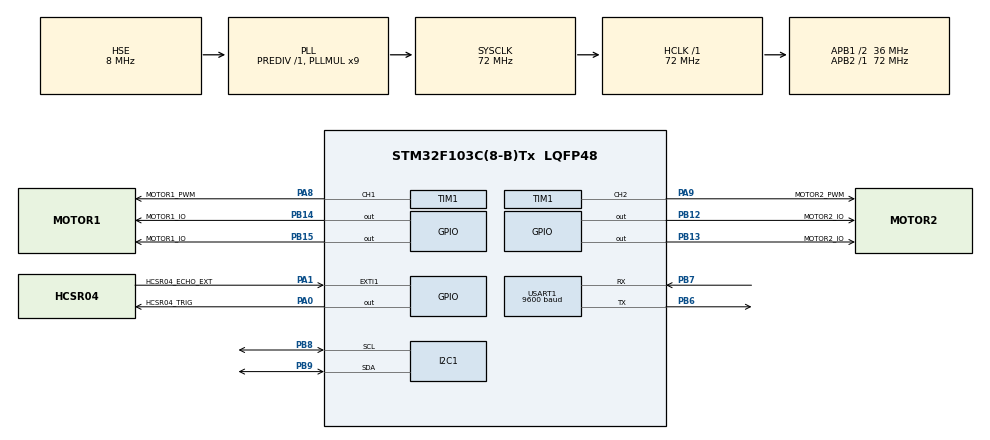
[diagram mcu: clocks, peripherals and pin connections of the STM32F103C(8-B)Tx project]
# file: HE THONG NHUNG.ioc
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Mcu.Family=STM32F1
Mcu.Name=STM32F103C(8-B)Tx
Mcu.Package=LQFP48
NVIC.EXTI1_IRQn=true\:1\:0\:true\:false\:true\:true\:true\:true
NVIC.PriorityGroup=NVIC_PRIORITYGROUP_4
NVIC.USART1_IRQn=true\:1\:0\:true\:false\:true\:true\:true\:true
PA0-WKUP.GPIO_Label=HCSR04_TRIG
PA0-WKUP.Signal=GPIO_Output
PA1.GPIO_Label=HCSR04_ECHO_EXT
PA1.GPIO_PuPd=GPIO_PULLUP
PA1.Signal=GPXTI1
PA13.Mode=Serial_Wire
PA13.Signal=SYS_JTMS-SWDIO
PA14.Mode=Serial_Wire
PA14.Signal=SYS_JTCK-SWCLK
PA8.GPIO_Label=MOTOR1_PWM
PA8.Signal=S_TIM1_CH1
PA9.GPIO_Label=MOTOR2_PWM
PA9.Signal=S_TIM1_CH2
PB12.GPIO_Label=MOTOR2_IO
PB12.Signal=GPIO_Output
PB13.GPIO_Label=MOTOR2_IO
PB13.Signal=GPIO_Output
PB14.GPIO_Label=MOTOR1_IO
PB14.Signal=GPIO_Output
PB15.GPIO_Label=MOTOR1_IO
PB15.Signal=GPIO_Output
PB6.Mode=Asynchronous
PB6.Signal=USART1_TX
PB7.Mode=Asynchronous
PB7.Signal=USART1_RX
PB8.Mode=I2C
PB8.Signal=I2C1_SCL
PB9.Mode=I2C
PB9.Signal=I2C1_SDA
PD0-OSC_IN.Mode=HSE-External-Oscillator
PD0-OSC_IN.Signal=RCC_OSC_IN
PD1-OSC_OUT.Mode=HSE-External-Oscillator
PD1-OSC_OUT.Signal=RCC_OSC_OUT
ProjectManager.HeapSize=0x200
ProjectManager.StackSize=0x400
ProjectManager.TargetToolchain=MDK-ARM V5.32
RCC.AHBFreq_Value=72000000
RCC.APB1CLKDivider=RCC_HCLK_DIV2
RCC.APB1Freq_Value=36000000
RCC.APB1TimFreq_Value=72000000
RCC.APB2Freq_Value=72000000
RCC.APB2TimFreq_Value=72000000
RCC.HCLKFreq_Value=72000000
RCC.PLLMUL=RCC_PLL_MUL9
RCC.PLLSourceVirtual=RCC_PLLSOURCE_HSE
RCC.SYSCLKFreq_VALUE=72000000
RCC.SYSCLKSource=RCC_SYSCLKSOURCE_PLLCLK
RCC.USBFreq_Value=72000000
SH.S_TIM1_CH1.0=TIM1_CH1,PWM Generation1 CH1
SH.S_TIM1_CH2.0=TIM1_CH2,PWM Generation2 CH2
TIM1.Channel-PWM\ Generation1\ CH1=TIM_CHANNEL_1
TIM1.Channel-PWM\ Generation2\ CH2=TIM_CHANNEL_2
TIM1.Period=999
TIM1.Prescaler=71
TIM3.Prescaler=71
USART1.BaudRate=9600
USART1.VirtualMode=VM_ASYNC
VP_TIM1_VS_ClockSourceINT.Mode=Internal
VP_TIM3_VS_ClockSourceINT.Mode=Internal
board=custom

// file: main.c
/* USER CODE BEGIN Header */
/**
  ******************************************************************************
  * @file           : main.c
  * @brief          : Main program body
  ******************************************************************************
  * @attention
  *
  * Copyright (c) 2025 STMicroelectronics.
  * All rights reserved.
  *
  * This software is licensed under terms that can be found in the LICENSE file
  * in the root directory of this software component.
  * If no LICENSE file comes with this software, it is provided AS-IS.
  *
  ******************************************************************************
  */
/* USER CODE END Header */
#include "main.h"

/* USER CODE BEGIN Includes */
#include "Car.h"
#include "stm32f1xx_hal.h"
#include "stdio.h"
#include "string.h"
#include "LiquidCrystal_I2C.h"
/* USER CODE END Includes */

I2C_HandleTypeDef hi2c1;

TIM_HandleTypeDef htim1;
TIM_HandleTypeDef htim3;

UART_HandleTypeDef huart1;

void SystemClock_Config(void);
static void MX_GPIO_Init(void);
static void MX_TIM1_Init(void);
static void MX_USART1_UART_Init(void);
static void MX_I2C1_Init(void);
static void MX_TIM3_Init(void);
/* USER CODE BEGIN PFP */
LiquidCrystal_I2C hlcd1;
/* USER CODE END PFP */

/* USER CODE BEGIN 0 */

//---------------- LCD SHOW --------------------
extern uint8_t car_state;
uint8_t car_speed = 100;
uint8_t old_car_state = 255;
uint8_t old_car_speed = 255;

void lcd_show_state_speed(void)
{
    if(car_state != old_car_state)
    {
			lcd_set_cursor(&hlcd1, 0, 0);

			switch (car_state)
			{
				case CAR_STOP_STATE:          lcd_printf(&hlcd1, "State: STOP    "); break;
				case CAR_FORWARD_STATE:       lcd_printf(&hlcd1, "State: FORWARD "); break;
				case CAR_BACKWARD_STATE:      lcd_printf(&hlcd1, "State: BACK    "); break;
				case CAR_FORWARD_LEFT_STATE:  lcd_printf(&hlcd1, "State: LEFT    "); break;
				case CAR_FORWARD_RIGHT_STATE: lcd_printf(&hlcd1, "State: RIGHT   "); break;
			}
			old_car_state = car_state;
	}
    if(car_speed != old_car_speed)
    {
			lcd_set_cursor(&hlcd1, 1, 0);
			lcd_printf(&hlcd1, "Speed: %3d %%   ", car_speed);
			old_car_speed = car_speed;
    }
}
//----------------- XU LY UART ---------------------
uint8_t data_rx;
uint8_t uart_rx_flag = 0;
void HAL_UART_RxCpltCallback(UART_HandleTypeDef *huart)
{
	if(huart->Instance == huart1.Instance)
	{
		uart_rx_flag = 1;
		HAL_UART_Receive_IT(&huart1, &data_rx, 1);
	}
}

void uart_handle()
{
	if(uart_rx_flag)
	{
		uart_rx_flag = 0;

		switch(data_rx)
		{
			case 'S':
			case '0':
				car_control(CAR_STOP_STATE, 0);
				lcd_show_state_speed();
				break;

			case 'F':
			case '1':
				car_control(CAR_FORWARD_STATE, car_speed);
				lcd_show_state_speed();
				break;

			case 'B':
			case '2':
				car_control(CAR_BACKWARD_STATE, car_speed);
				lcd_show_state_speed();
				break;

			case 'L':
			case '3':
				car_control(CAR_FORWARD_LEFT_STATE, car_speed);
				lcd_show_state_speed();
				break;

			case 'R':
			case '4':
				car_control(CAR_FORWARD_RIGHT_STATE, car_speed);
				lcd_show_state_speed();
				break;

			case '5': car_speed = 50;  lcd_show_state_speed(); break;
			case '6': car_speed = 60; lcd_show_state_speed(); break;
			case '7': car_speed = 70; lcd_show_state_speed(); break;
			case '8': car_speed = 80; lcd_show_state_speed(); break;
			case '9': car_speed = 90; lcd_show_state_speed(); break;
			case 'q': car_speed = 100; lcd_show_state_speed(); break;

			default: break;
		}
		lcd_show_state_speed();
	}
}

//------------------ HCSR04 -------------------
//typedef enum
//{
//	HCSR04_IDLE_STATE,
//	HCSR04_GEN_PULSE_STATE,
//	HCSR04_WAIT_EXT_RISSING_STATE,
//	HCSR04_WAIT_EXT_FALLING_STATE,
//	HCSR04_COMPLETE_STATE
//}HCSR04_State;

//HCSR04_State hcsr04_state = HCSR04_IDLE_STATE;
//uint32_t time_start_gen_pulse;
//void HAL_GPIO_EXTI_Callback(uint16_t GPIO_Pin)
//{
//	if(GPIO_Pin == HCSR04_ECHO_EXT_Pin)
//	{
//		switch(hcsr04_state)
//		{
//			case HCSR04_WAIT_EXT_RISSING_STATE:
//			{
//				if(HAL_GPIO_ReadPin(HCSR04_ECHO_EXT_GPIO_Port, HCSR04_ECHO_EXT_Pin) == 1)
//				{
//					//__HAL_TIM_SetCounter(&htim3, 0);
//					htim3.Instance->CNT = 0;
//					HAL_TIM_Base_Start(&htim3);
//					hcsr04_state = HCSR04_WAIT_EXT_FALLING_STATE;
//				}
//				else
//				{
//					hcsr04_state = HCSR04_IDLE_STATE;
//				}
//				break;
//			}
//			case HCSR04_WAIT_EXT_FALLING_STATE:
//			{
//				if(HAL_GPIO_ReadPin(HCSR04_ECHO_EXT_GPIO_Port, HCSR04_ECHO_EXT_Pin) == 0)
//				{
//					HAL_TIM_Base_Stop(&htim3);
//					hcsr04_state = HCSR04_COMPLETE_STATE;
//				}
//				else
//				{
//					hcsr04_state = HCSR04_IDLE_STATE;
//				}
//				break;
//			}
//			default:
//				break;
//		}
//	}
//}

//void HCSR04_Start()
//{
//	HAL_GPIO_WritePin(HCSR04_TRIG_GPIO_Port, HCSR04_TRIG_Pin, GPIO_PIN_SET);
//	hcsr04_state = HCSR04_GEN_PULSE_STATE;
//	time_start_gen_pulse = HAL_GetTick();
////	HAL_Delay(1);

//}

//float distance;
//void HCSR04_Complete_Callback(float kc)
//{
//	distance = kc;
//	//lam tac vu gi do
//}

//void HCSR04_Handle()
//{
//	switch(hcsr04_state)
//	{
//		case HCSR04_GEN_PULSE_STATE:
//		{
//			if(HAL_GetTick() - time_start_gen_pulse >= 1)
//			{
//				HAL_GPIO_WritePin(HCSR04_TRIG_GPIO_Port, HCSR04_TRIG_Pin, GPIO_PIN_RESET);
//				hcsr04_state = HCSR04_WAIT_EXT_RISSING_STATE;
//			}
//			break;
//		}
//		case HCSR04_COMPLETE_STATE:
//		{
//			float kc = 0.017*htim3.Instance->CNT;
//			HCSR04_Complete_Callback(kc);
//			break;
//		}
//		default:
//			break;
//	}
//}
/* USER CODE END 0 */

int main(void)
{

  /* MCU Configuration--------------------------------------------------------*/

  /* Reset of all peripherals, Initializes the Flash interface and the Systick. */
  HAL_Init();

  /* Configure the system clock */
  SystemClock_Config();

  /* Initialize all configured peripherals */
  MX_GPIO_Init();
  MX_TIM1_Init();
  MX_USART1_UART_Init();
  MX_I2C1_Init();
  MX_TIM3_Init();
  /* USER CODE BEGIN 2 */
	car_init(&htim1);
	__HAL_TIM_MOE_ENABLE(&htim1);
	HAL_UART_Receive_IT(&huart1, &data_rx, 1);

	lcd_init(&hlcd1, &hi2c1, LCD_ADDR_DEFAULT);
	lcd_show_state_speed();
  /* USER CODE END 2 */

  /* Infinite loop */
  while (1)
  {

    /* USER CODE BEGIN 3 */
		uart_handle();
//		static uint32_t t_read_hcsr;
//		if(HAL_GetTick() - t_read_hcsr >= 300)
//		{
//			HCSR04_Start();
//			t_read_hcsr = HAL_GetTick();
//		}
//		HCSR04_Handle();
  }
  /* USER CODE END 3 */
}

void SystemClock_Config(void)
{
  RCC_OscInitTypeDef RCC_OscInitStruct = {0};
  RCC_ClkInitTypeDef RCC_ClkInitStruct = {0};

  /** Initializes the RCC Oscillators according to the specified parameters
  * in the RCC_OscInitTypeDef structure.
  */
  RCC_OscInitStruct.OscillatorType = RCC_OSCILLATORTYPE_HSE;
  RCC_OscInitStruct.HSEState = RCC_HSE_ON;
  RCC_OscInitStruct.HSEPredivValue = RCC_HSE_PREDIV_DIV1;
  RCC_OscInitStruct.HSIState = RCC_HSI_ON;
  RCC_OscInitStruct.PLL.PLLState = RCC_PLL_ON;
  RCC_OscInitStruct.PLL.PLLSource = RCC_PLLSOURCE_HSE;
  RCC_OscInitStruct.PLL.PLLMUL = RCC_PLL_MUL9;
  if (HAL_RCC_OscConfig(&RCC_OscInitStruct) != HAL_OK)
  {
    Error_Handler();
  }

  /** Initializes the CPU, AHB and APB buses clocks
  */
  RCC_ClkInitStruct.ClockType = RCC_CLOCKTYPE_HCLK|RCC_CLOCKTYPE_SYSCLK
                              |RCC_CLOCKTYPE_PCLK1|RCC_CLOCKTYPE_PCLK2;
  RCC_ClkInitStruct.SYSCLKSource = RCC_SYSCLKSOURCE_PLLCLK;
  RCC_ClkInitStruct.AHBCLKDivider = RCC_SYSCLK_DIV1;
  RCC_ClkInitStruct.APB1CLKDivider = RCC_HCLK_DIV2;
  RCC_ClkInitStruct.APB2CLKDivider = RCC_HCLK_DIV1;

  if (HAL_RCC_ClockConfig(&RCC_ClkInitStruct, FLASH_LATENCY_2) != HAL_OK)
  {
    Error_Handler();
  }
}

static void MX_I2C1_Init(void)
{

  hi2c1.Instance = I2C1;
  hi2c1.Init.ClockSpeed = 100000;
  hi2c1.Init.DutyCycle = I2C_DUTYCYCLE_2;
  hi2c1.Init.OwnAddress1 = 0;
  hi2c1.Init.AddressingMode = I2C_ADDRESSINGMODE_7BIT;
  hi2c1.Init.DualAddressMode = I2C_DUALADDRESS_DISABLE;
  hi2c1.Init.OwnAddress2 = 0;
  hi2c1.Init.GeneralCallMode = I2C_GENERALCALL_DISABLE;
  hi2c1.Init.NoStretchMode = I2C_NOSTRETCH_DISABLE;
  if (HAL_I2C_Init(&hi2c1) != HAL_OK)
  {
    Error_Handler();
  }

}

static void MX_TIM1_Init(void)
{

  TIM_ClockConfigTypeDef sClockSourceConfig = {0};
  TIM_MasterConfigTypeDef sMasterConfig = {0};
  TIM_OC_InitTypeDef sConfigOC = {0};
  TIM_BreakDeadTimeConfigTypeDef sBreakDeadTimeConfig = {0};

  htim1.Instance = TIM1;
  htim1.Init.Prescaler = 71;
  htim1.Init.CounterMode = TIM_COUNTERMODE_UP;
  htim1.Init.Period = 999;
  htim1.Init.ClockDivision = TIM_CLOCKDIVISION_DIV1;
  htim1.Init.RepetitionCounter = 0;
  htim1.Init.AutoReloadPreload = TIM_AUTORELOAD_PRELOAD_DISABLE;
  if (HAL_TIM_Base_Init(&htim1) != HAL_OK)
  {
    Error_Handler();
  }
  sClockSourceConfig.ClockSource = TIM_CLOCKSOURCE_INTERNAL;
  if (HAL_TIM_ConfigClockSource(&htim1, &sClockSourceConfig) != HAL_OK)
  {
    Error_Handler();
  }
  if (HAL_TIM_PWM_Init(&htim1) != HAL_OK)
  {
    Error_Handler();
  }
  sMasterConfig.MasterOutputTrigger = TIM_TRGO_RESET;
  sMasterConfig.MasterSlaveMode = TIM_MASTERSLAVEMODE_DISABLE;
  if (HAL_TIMEx_MasterConfigSynchronization(&htim1, &sMasterConfig) != HAL_OK)
  {
    Error_Handler();
  }
  sConfigOC.OCMode = TIM_OCMODE_PWM1;
  sConfigOC.Pulse = 0;
  sConfigOC.OCPolarity = TIM_OCPOLARITY_HIGH;
  sConfigOC.OCNPolarity = TIM_OCNPOLARITY_HIGH;
  sConfigOC.OCFastMode = TIM_OCFAST_DISABLE;
  sConfigOC.OCIdleState = TIM_OCIDLESTATE_RESET;
  sConfigOC.OCNIdleState = TIM_OCNIDLESTATE_RESET;
  if (HAL_TIM_PWM_ConfigChannel(&htim1, &sConfigOC, TIM_CHANNEL_1) != HAL_OK)
  {
    Error_Handler();
  }
  if (HAL_TIM_PWM_ConfigChannel(&htim1, &sConfigOC, TIM_CHANNEL_2) != HAL_OK)
  {
    Error_Handler();
  }
  sBreakDeadTimeConfig.OffStateRunMode = TIM_OSSR_DISABLE;
  sBreakDeadTimeConfig.OffStateIDLEMode = TIM_OSSI_DISABLE;
  sBreakDeadTimeConfig.LockLevel = TIM_LOCKLEVEL_OFF;
  sBreakDeadTimeConfig.DeadTime = 0;
  sBreakDeadTimeConfig.BreakState = TIM_BREAK_DISABLE;
  sBreakDeadTimeConfig.BreakPolarity = TIM_BREAKPOLARITY_HIGH;
  sBreakDeadTimeConfig.AutomaticOutput = TIM_AUTOMATICOUTPUT_DISABLE;
  if (HAL_TIMEx_ConfigBreakDeadTime(&htim1, &sBreakDeadTimeConfig) != HAL_OK)
  {
    Error_Handler();
  }
  HAL_TIM_MspPostInit(&htim1);

}

static void MX_TIM3_Init(void)
{

  TIM_ClockConfigTypeDef sClockSourceConfig = {0};
  TIM_MasterConfigTypeDef sMasterConfig = {0};

  htim3.Instance = TIM3;
  htim3.Init.Prescaler = 71;
  htim3.Init.CounterMode = TIM_COUNTERMODE_UP;
  htim3.Init.Period = 65535;
  htim3.Init.ClockDivision = TIM_CLOCKDIVISION_DIV1;
  htim3.Init.AutoReloadPreload = TIM_AUTORELOAD_PRELOAD_DISABLE;
  if (HAL_TIM_Base_Init(&htim3) != HAL_OK)
  {
    Error_Handler();
  }
  sClockSourceConfig.ClockSource = TIM_CLOCKSOURCE_INTERNAL;
  if (HAL_TIM_ConfigClockSource(&htim3, &sClockSourceConfig) != HAL_OK)
  {
    Error_Handler();
  }
  sMasterConfig.MasterOutputTrigger = TIM_TRGO_RESET;
  sMasterConfig.MasterSlaveMode = TIM_MASTERSLAVEMODE_DISABLE;
  if (HAL_TIMEx_MasterConfigSynchronization(&htim3, &sMasterConfig) != HAL_OK)
  {
    Error_Handler();
  }

}

static void MX_USART1_UART_Init(void)
{

  huart1.Instance = USART1;
  huart1.Init.BaudRate = 9600;
  huart1.Init.WordLength = UART_WORDLENGTH_8B;
  huart1.Init.StopBits = UART_STOPBITS_1;
  huart1.Init.Parity = UART_PARITY_NONE;
  huart1.Init.Mode = UART_MODE_TX_RX;
  huart1.Init.HwFlowCtl = UART_HWCONTROL_NONE;
  huart1.Init.OverSampling = UART_OVERSAMPLING_16;
  if (HAL_UART_Init(&huart1) != HAL_OK)
  {
    Error_Handler();
  }

}

static void MX_GPIO_Init(void)
{
  GPIO_InitTypeDef GPIO_InitStruct = {0};

  /* GPIO Ports Clock Enable */
  __HAL_RCC_GPIOD_CLK_ENABLE();
  __HAL_RCC_GPIOA_CLK_ENABLE();
  __HAL_RCC_GPIOB_CLK_ENABLE();

  /*Configure GPIO pin Output Level */
  HAL_GPIO_WritePin(HCSR04_TRIG_GPIO_Port, HCSR04_TRIG_Pin, GPIO_PIN_RESET);

  /*Configure GPIO pin Output Level */
  HAL_GPIO_WritePin(GPIOB, MOTOR2_IO_Pin|MOTOR2_IOB13_Pin|MOTOR1_IO_Pin|MOTOR1_IOB15_Pin, GPIO_PIN_RESET);

  /*Configure GPIO pin : HCSR04_TRIG_Pin */
  GPIO_InitStruct.Pin = HCSR04_TRIG_Pin;
  GPIO_InitStruct.Mode = GPIO_MODE_OUTPUT_PP;
  GPIO_InitStruct.Pull = GPIO_NOPULL;
  GPIO_InitStruct.Speed = GPIO_SPEED_FREQ_LOW;
  HAL_GPIO_Init(HCSR04_TRIG_GPIO_Port, &GPIO_InitStruct);

  /*Configure GPIO pin : HCSR04_ECHO_EXT_Pin */
  GPIO_InitStruct.Pin = HCSR04_ECHO_EXT_Pin;
  GPIO_InitStruct.Mode = GPIO_MODE_IT_RISING;
  GPIO_InitStruct.Pull = GPIO_PULLUP;
  HAL_GPIO_Init(HCSR04_ECHO_EXT_GPIO_Port, &GPIO_InitStruct);

  /*Configure GPIO pins : MOTOR2_IO_Pin MOTOR2_IOB13_Pin MOTOR1_IO_Pin MOTOR1_IOB15_Pin */
  GPIO_InitStruct.Pin = MOTOR2_IO_Pin|MOTOR2_IOB13_Pin|MOTOR1_IO_Pin|MOTOR1_IOB15_Pin;
  GPIO_InitStruct.Mode = GPIO_MODE_OUTPUT_PP;
  GPIO_InitStruct.Pull = GPIO_NOPULL;
  GPIO_InitStruct.Speed = GPIO_SPEED_FREQ_LOW;
  HAL_GPIO_Init(GPIOB, &GPIO_InitStruct);

  /* EXTI interrupt init*/
  HAL_NVIC_SetPriority(EXTI1_IRQn, 1, 0);
  HAL_NVIC_EnableIRQ(EXTI1_IRQn);

}

void Error_Handler(void)
{
  __disable_irq();
  while (1)
  {
  }
}
